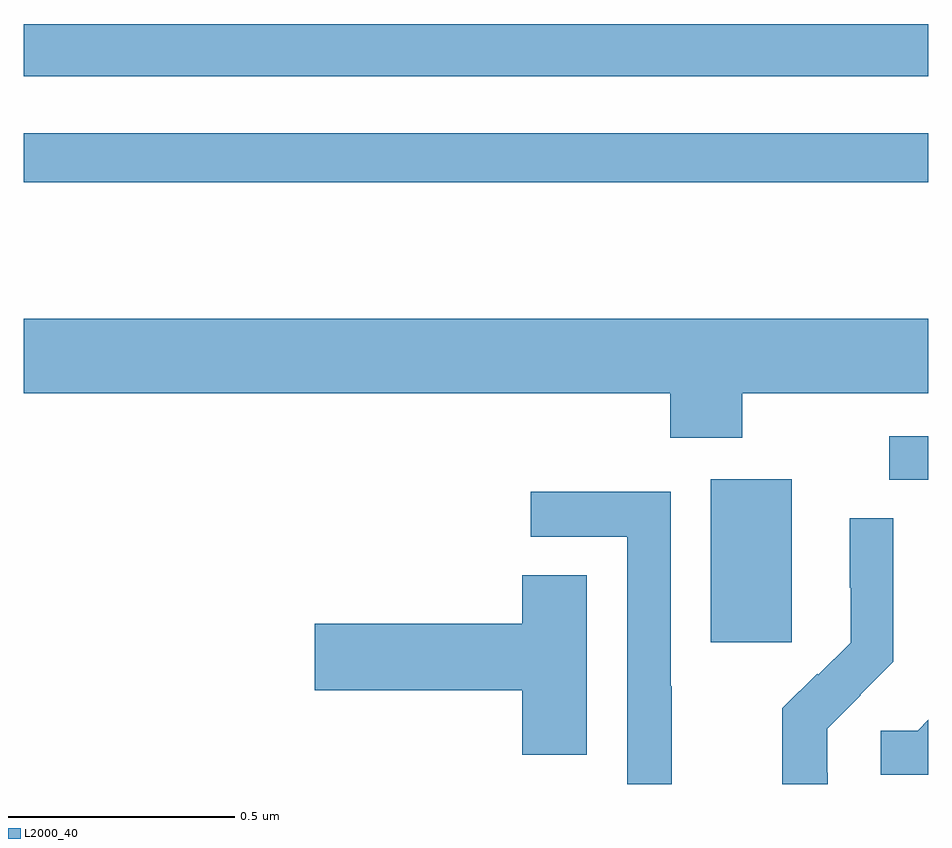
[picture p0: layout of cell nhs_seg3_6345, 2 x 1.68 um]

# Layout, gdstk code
import gdstk
lib = gdstk.Library(unit=1e-6, precision=1e-09)
def R(c, l, rs):  # rectangles x0, y0, x1, y1
    for r in rs: c.add(gdstk.rectangle(r[:2], r[2:], *l))
def P(c, l, *ps):  # polygons
    for p in ps: c.add(gdstk.Polygon(p, *l))
L2000_40 = (2000, 40)

nhs_seg3_6345 = lib.new_cell('nhs_seg3_6345')
R(nhs_seg3_6345, L2000_40, [(191.519,685.713,191.698,686.074), (191.913,686.073,192,686.169), (190,686.73,192,686.838), (190,686.964,192,687.08)])
P(nhs_seg3_6345, L2000_40, [(191.589,686.264),(192,686.264),(192,686.428),(190,686.428),(190,686.264),(191.429,686.264),(191.429,686.165),(191.589,686.165)],
  [(191.433,685.616),(191.43,685.616),(191.43,686.046),(191.121,686.046),(191.121,685.947),(191.334,685.947),(191.334,685.4),(191.433,685.4)],
  [(191.778,685.425),(191.776,685.425),(191.776,685.522),(191.85,685.596),(191.849,685.597),(191.922,685.67),(191.922,685.988),(191.826,685.988),(191.826,685.834),(191.828,685.834),(191.828,685.712),(191.757,685.641),(191.754,685.644),(191.677,685.567),(191.677,685.4),(191.778,685.4)],
  [(191.245,685.862),(191.102,685.862),(191.102,685.754),(190.644,685.754),(190.644,685.607),(191.102,685.607),(191.102,685.465),(191.245,685.465)],
  [(192,685.542),(191.976,685.518),(191.895,685.518),(191.895,685.421),(192,685.421)])

lib.write_gds('nhs_seg3_6345.gds')
